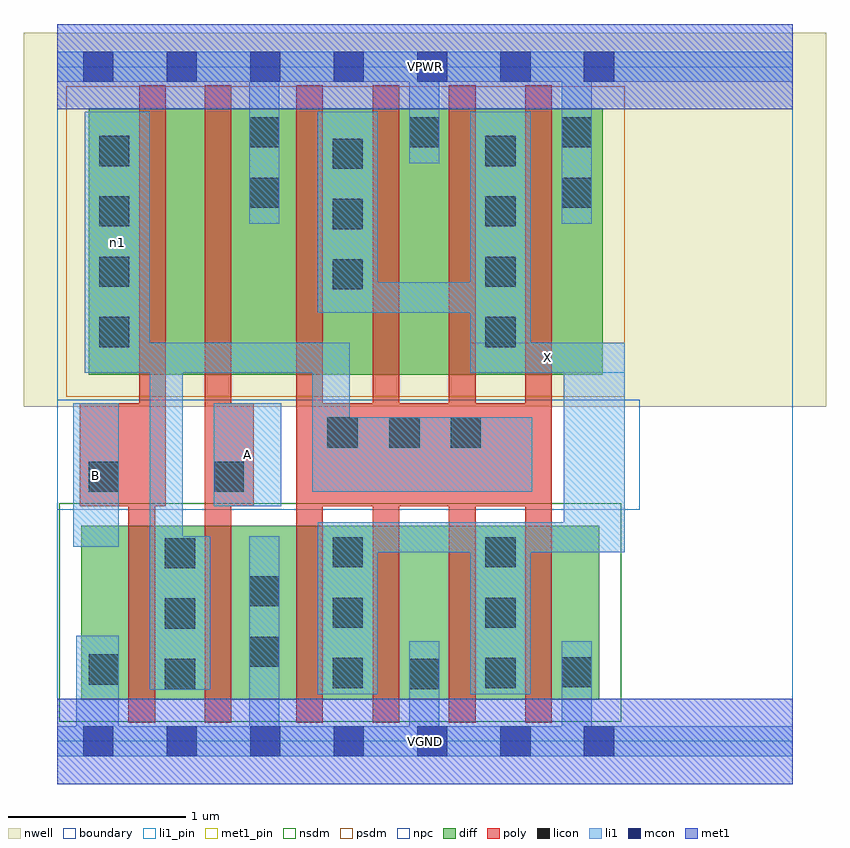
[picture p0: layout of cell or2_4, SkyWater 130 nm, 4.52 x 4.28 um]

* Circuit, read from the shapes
.subckt or2_4 A B VGND VPWR X n1
XM1 n1 B VGND VSUBS sky130_fd_pr__nfet_01v8 w=0.98 l=0.15
XM2 VGND A n1 VSUBS sky130_fd_pr__nfet_01v8 w=0.98 l=0.15
XM3 X n1 VGND VSUBS sky130_fd_pr__nfet_01v8 w=0.98 l=0.15 m=4
XM4 n2 B n1 n3 sky130_fd_pr__pfet_01v8 w=1.5 l=0.15
XM5 VPWR A n2 n3 sky130_fd_pr__pfet_01v8 w=1.5 l=0.15
XM6 X n1 VPWR n3 sky130_fd_pr__pfet_01v8 w=1.5 l=0.15 m=4
.ends

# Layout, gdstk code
import gdstk
lib = gdstk.Library(unit=1e-6, precision=1e-09)
def R(c, l, rs):  # rectangles x0, y0, x1, y1
    for r in rs: c.add(gdstk.rectangle(r[:2], r[2:], *l))
def A(c, l, x, y, w, h, nx, ny, dx, dy):  # array of equal rectangles
    R(c, l, [(x+i*dx, y+j*dy, x+i*dx+w, y+j*dy+h) for i in range(nx) for j in range(ny)])
nwell = (64, 20)
diff = (65, 20)
poly = (66, 20)
licon = (66, 44)
li1_pin = (67, 16)
li1 = (67, 20)
mcon = (67, 44)
met1_pin = (68, 16)
met1 = (68, 20)
nsdm = (93, 44)
psdm = (94, 20)
npc = (95, 20)
boundary = (235, 4)

or2_4 = lib.new_cell('or2_4')
R(or2_4, nwell, [(-0.19,1.885,4.33,3.99), (0,1.885,4.14,3.99)])
R(or2_4, diff, [(0.135,0.235,3.05,1.215), (0.175,2.065,3.07,3.565)])
A(or2_4, poly, 1.345, 0.105, 0.15, 3.59, 4, 1, 0.43, 0)
R(or2_4, poly, [(0.4,0.105,0.55,1.905), (0.83,0.105,0.98,3.695), (0.125,1.325,0.61,1.905), (0.46,1.325,0.61,3.695), (0.83,1.325,1.105,1.905), (1.345,1.325,2.785,1.905)])
A(or2_4, licon, 0.605, 0.295, 0.17, 0.17, 1, 3, 0, 0.34)
A(or2_4, licon, 1.55, 0.3, 0.17, 0.17, 1, 3, 0, 0.34)
A(or2_4, licon, 2.41, 0.3, 0.17, 0.17, 1, 3, 0, 0.34)
A(or2_4, licon, 0.235, 2.22, 0.17, 0.17, 1, 4, 0, 0.34)
A(or2_4, licon, 2.41, 2.22, 0.17, 0.17, 1, 4, 0, 0.34)
A(or2_4, licon, 1.55, 2.545, 0.17, 0.17, 1, 3, 0, 0.34)
R(or2_4, licon, [(1.98,0.295,2.15,0.465), (2.84,0.305,3.01,0.475), (0.175,0.32,0.345,0.49), (1.08,0.42,1.25,0.59), (1.08,0.76,1.25,0.93), (0.175,1.405,0.345,1.575), (0.88,1.405,1.05,1.575), (1.52,1.655,1.69,1.825), (1.87,1.655,2.04,1.825), (2.215,1.655,2.385,1.825), (1.08,3.005,1.25,3.175), (2.84,3.005,3.01,3.175), (1.08,3.345,1.25,3.515), (1.98,3.345,2.15,3.515), (2.84,3.345,3.01,3.515)])
R(or2_4, li1_pin, [(0.09,1.095,0.345,1.905), (0.88,1.325,1.26,1.905), (2.325,2.075,3.195,2.245)])
R(or2_4, li1, [(0,-0.085,4.14,0.085), (0.105,-0.085,0.345,0.595), (1.08,-0.085,1.25,1.155), (1.98,-0.085,2.15,0.565), (2.84,-0.085,3.01,0.565), (1.465,0.265,1.805,1.235), (2.325,0.265,2.665,1.235), (0.52,0.29,0.705,2.245), (0.52,0.29,0.86,1.155), (1.465,1.065,3.195,1.235), (2.85,1.065,3.195,2.245), (0.09,1.095,0.345,1.905), (0.88,1.325,1.26,1.905), (1.435,1.405,2.675,1.825), (1.435,1.405,1.645,2.245), (0.155,2.075,0.52,3.545), (0.155,2.075,1.645,2.245), (2.325,2.075,2.665,3.545), (2.325,2.075,3.195,2.245), (1.465,2.415,1.805,3.545), (1.465,2.415,2.665,2.585), (1.08,2.915,1.25,3.885), (2.84,2.915,3.01,3.885), (1.98,3.255,2.15,3.885), (0,3.715,4.14,3.885)])
A(or2_4, mcon, 0.145, -0.085, 0.17, 0.17, 7, 2, 0.47, 3.8)
R(or2_4, met1_pin, [(0,-0.24,4.14,0.24), (0,3.56,4.14,4.04)])
R(or2_4, met1, [(0,-0.24,4.14,0.24), (0,3.56,4.14,4.04)])
R(or2_4, nsdm, [(0.01,0.11,3.175,1.34)])
R(or2_4, psdm, [(0.05,1.94,3.195,3.69)])
R(or2_4, npc, [(0,1.305,3.28,1.925)])
R(or2_4, boundary, [(0,0,4.14,3.8)])
or2_4.add(gdstk.Label('A', (1.07,1.615), layer=67, texttype=5))
or2_4.add(gdstk.Label('B', (0.217,1.5), layer=67, texttype=5))
or2_4.add(gdstk.Label('X', (2.76,2.16), layer=67, texttype=5))
or2_4.add(gdstk.Label('n1', (0.337,2.81), layer=67, texttype=5))
or2_4.add(gdstk.Label('VPWR', (2.07,3.8), layer=68, texttype=5))
or2_4.add(gdstk.Label('VGND', (2.07,0), layer=68, texttype=5))
or2_4.add(gdstk.Label('A', (1.07,1.615), layer=67, texttype=16))
or2_4.add(gdstk.Label('B', (0.217,1.5), layer=67, texttype=16))
or2_4.add(gdstk.Label('X', (2.76,2.16), layer=67, texttype=16))
or2_4.add(gdstk.Label('VPWR', (2.07,3.8), layer=68, texttype=16))
or2_4.add(gdstk.Label('VGND', (2.07,0), layer=68, texttype=16))

lib.write_gds('or2_4.gds')
